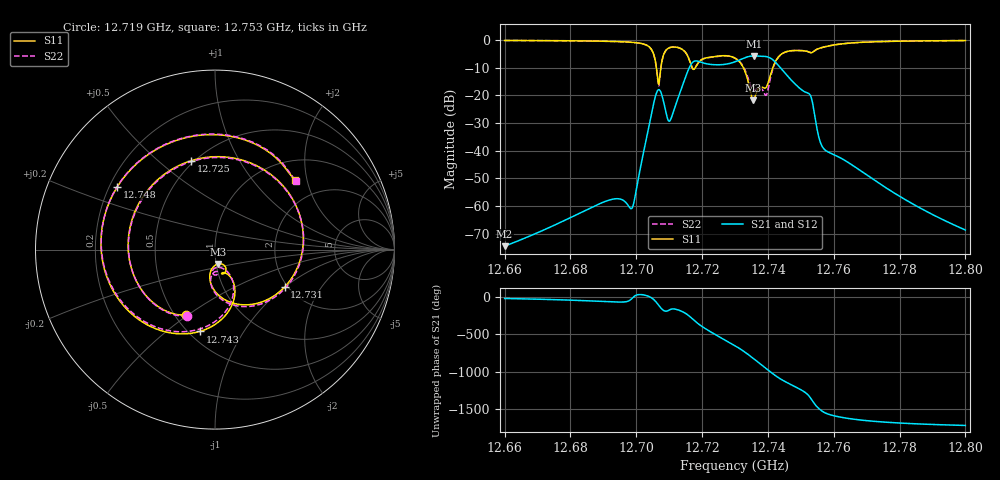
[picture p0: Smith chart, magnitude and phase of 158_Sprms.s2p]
! TOUCHSTONE file generated by CST MICROWAVE STUDIO
! Date and time: Wed Jul 31 18:49:55 2024
! Project name: WaveGuide_BPF-Ver4.1_U-shape_Ku_T3_C4_CWA_2.cst
! Parameters = {cavity_h=16; cavity_l0=10; cavity_l1=15.1885; cavity_l2=16.8338; cavity_l3=17.1046; cavity_l4=17.2978; cavity_l5=17.1275; cavity_l6=17.5846; cavity_r=2.5; cavity_screw_l=0.5; cavity_screw_r=1.5; cavity_w=8; iris_h00=0; iris_h01=8.8197; iris_h112=0; iris_h12=5.5883; iris_h211=3.6548; 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
! Header version: 2018
! Port assignment regex: !\s*Touchstone port\s*([0-9]+)\s*=\s*(CST MWS port|CST DS port)\s*([0-9]+|Zmin|Zmax)\s*\(\"(.*)\"\)(\s*mode\s*([0-9]+))?.*
! Touchstone port assignment:
! Touchstone port 1 = CST MWS port 1 ("")
! Touchstone port 2 = CST MWS port 2 ("")
# GHz S RI R 50
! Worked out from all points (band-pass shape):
!   5001 points, 12.66 GHz to 12.8 GHz, reference 50 ohm
!   highest |S21| = -5.76 dB at 12.736 GHz (marker M1); lowest = -74.4 dB at 12.66 GHz (marker M2)
!   |S21| within 3 dB of the highest: 12.71665 GHz to 12.72227 GHz (5.618 MHz wide, 0.0442 % of centre); 12.72703 GHz to 12.74287 GHz (15.84 MHz wide, 0.124 % of centre)
!   lowest |S11| = -21.8 dB at 12.735 GHz (marker M3), VSWR 1.18, Z = 51.1 - j8.19 ohm
!   |S11| at or under -10 dB: 12.70612 GHz to 12.70746 GHz (1.343 MHz wide, 0.0106 % of centre); 12.71697 GHz to 12.71794 GHz (968.7 kHz wide, 0.00762 % of centre); 12.73254 GHz to 12.74146 GHz (8.921 MHz wide, 0.07 % of centre)
!   |S22| runs from -20.0 to -0.1 dB; largest |S21 - S12| = 1e-09
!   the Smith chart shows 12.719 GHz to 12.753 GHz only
!   S11 on the Smith chart (normalised r, x): 12.719 GHz: 0.56, -0.49; 12.725 GHz: 0.48, +0.65; 12.731 GHz: 1.93, -1.00; 12.743 GHz: 0.57, -0.66; 12.748 GHz: 0.23, +0.28; 12.753 GHz: 1.41, +1.69
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12.66  0.2718 0.9445  0.000178 -6.47e-05  0.000178 -6.47e-05  0.277 0.943
12.68335  0.6558 0.708  0.000523 -0.000575  0.000523 -0.000575  0.6598 0.7043
12.69872  0.9047 0.0923  0.000878 -0.000291  0.000878 -0.000291  0.9051 0.0863
12.7046  0.5197 -0.434  0.0452 -0.00863  0.0452 -0.00863  0.5118 -0.4388
12.70668  0.1411 -0.0861  -0.0287 -0.1228  -0.0287 -0.1228  0.1319 -0.0827
12.71023  0.6923 -0.2407  -0.0343 -0.00661  -0.0343 -0.00661  0.6957 -0.2298
12.71684  -0.1284 -0.304  0.087 0.369  0.087 0.369  -0.1215 -0.3115
12.71902  -0.164 -0.3648  0.4085 -0.0339  0.4085 -0.0339  -0.156 -0.3705
12.72488  -0.1342 0.4948  -0.3436 -0.0982  -0.3436 -0.0982  -0.1331 0.4904
12.73  0.4602 -0.0981  0.146 0.3777  0.146 0.3777  0.4601 -0.1093
12.7307  0.3885 -0.2079  0.2683 0.3238  0.2683 0.3238  0.3883 -0.2177
12.73549  0.0175 -0.0796  -0.0783 -0.5091  -0.0783 -0.5091  0.000243 -0.1232
12.7358  0.0333 -0.079  -0.17 -0.4865  -0.17 -0.4865  0.00855 -0.122
12.73991  0.0739 -0.1399  -0.1612 0.4685  -0.1612 0.4685  0.0492 -0.108
12.74282  -0.0841 -0.4557  0.3589 0.0793  0.3589 0.0793  -0.0923 -0.4445
12.74809  -0.5439 0.3502  -0.0699 -0.149  -0.0699 -0.149  -0.5311 0.372
12.75318  0.4434 0.3898  0.0253 0.0872  0.0253 0.0872  0.4526 0.3803
12.75335  0.4606 0.3745  0.0388 0.074  0.0388 0.074  0.4691 0.365
12.7564  0.7095 -0.1786  0.00135 -0.0122  0.00135 -0.0122  0.7084 -0.1883
12.76198  0.1433 -0.8335  -0.00724 -0.00193  -0.00724 -0.00193  0.1359 -0.8351
12.77668  -0.8273 -0.4581  -0.00113 0.00166  -0.00113 0.00166  -0.8307 -0.4523
12.8  -0.9623 0.173  4.36e-05 0.000369  4.36e-05 0.000369  -0.9612 0.179
